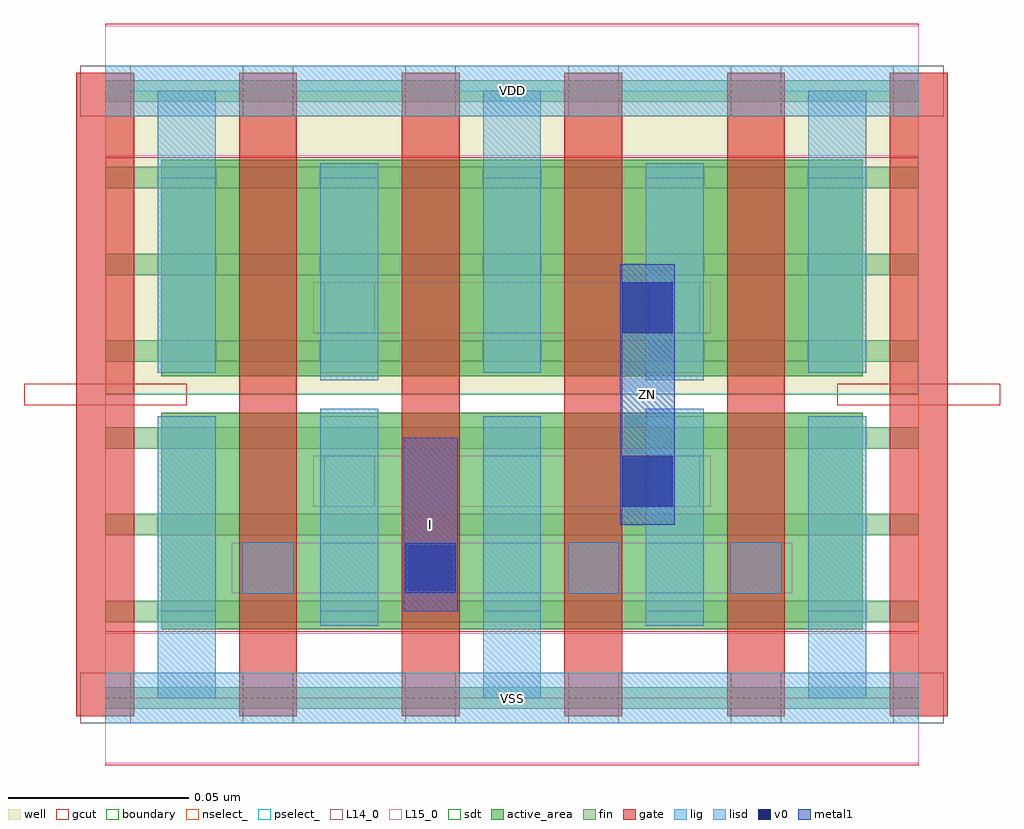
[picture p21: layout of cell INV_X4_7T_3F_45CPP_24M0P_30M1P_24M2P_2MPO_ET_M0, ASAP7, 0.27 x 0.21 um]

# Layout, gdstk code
import gdstk
lib = gdstk.Library(unit=1e-6, precision=2.5e-10)
def R(c, l, rs):  # rectangles x0, y0, x1, y1
    for r in rs: c.add(gdstk.rectangle(r[:2], r[2:], *l))
def A(c, l, x, y, w, h, nx, ny, dx, dy):  # array of equal rectangles
    R(c, l, [(x+i*dx, y+j*dy, x+i*dx+w, y+j*dy+h) for i in range(nx) for j in range(ny)])
well = (1, 0)
fin = (2, 0)
gate = (7, 0)
gcut = (10, 0)
active_area = (11, 0)
nselect_ = (12, 0)
pselect_ = (13, 0)
L14_0 = (14, 0)
L15_0 = (15, 0)
lig = (16, 0)
lisd = (17, 0)
v0 = (18, 0)
metal1 = (19, 0)
sdt = (88, 0)
boundary = (100, 0)

inv_x4_7t_3f_45cpp_24m0p = lib.new_cell('INV_X4_7T_3F_45CPP_24M0P_30M1P_24M2P_2MPO_ET_M0')
R(inv_x4_7t_3f_45cpp_24m0p, well, [(0,0.084,0.225,0.168)])
A(inv_x4_7t_3f_45cpp_24m0p, fin, 0, -0.003, 0.225, 0.006, 1, 8, 0, 0.024)
A(inv_x4_7t_3f_45cpp_24m0p, gate, -0.008, -0.005, 0.016, 0.178, 6, 1, 0.045, 0)
R(inv_x4_7t_3f_45cpp_24m0p, gcut, [(0,-0.0185,0.225,0.0185), (-0.0225,0.081,0.0225,0.087), (0.2025,0.081,0.2475,0.087), (0,0.1495,0.225,0.1865)])
R(inv_x4_7t_3f_45cpp_24m0p, active_area, [(0.0155,0.019,0.2095,0.079), (0.0155,0.089,0.2095,0.149)])
R(inv_x4_7t_3f_45cpp_24m0p, nselect_, [(0,0,0.225,0.084)])
R(inv_x4_7t_3f_45cpp_24m0p, pselect_, [(0,0.084,0.225,0.168)])
A(inv_x4_7t_3f_45cpp_24m0p, L14_0, -0.007, -0.007, 0.014, 0.014, 6, 2, 0.045, 0.168)
A(inv_x4_7t_3f_45cpp_24m0p, L14_0, 0.038, 0.029, 0.014, 0.014, 4, 1, 0.045, 0)
R(inv_x4_7t_3f_45cpp_24m0p, L14_0, [(0.0605,0.053,0.0745,0.067), (0.1505,0.053,0.1645,0.067), (0.0605,0.101,0.0745,0.115), (0.1505,0.101,0.1645,0.115)])
R(inv_x4_7t_3f_45cpp_24m0p, L15_0, [(0,-0.018,0.225,0.018), (0.035,0.029,0.19,0.043), (0.0575,0.053,0.1675,0.067), (0.0575,0.101,0.1675,0.115), (0,0.15,0.225,0.186)])
A(inv_x4_7t_3f_45cpp_24m0p, lig, 0.038, 0.029, 0.014, 0.014, 4, 1, 0.045, 0)
R(inv_x4_7t_3f_45cpp_24m0p, lig, [(0,-0.007,0.225,0.007), (0,0.161,0.225,0.175)])
A(inv_x4_7t_3f_45cpp_24m0p, lisd, 0.0145, 0, 0.016, 0.078, 3, 2, 0.09, 0.09)
R(inv_x4_7t_3f_45cpp_24m0p, lisd, [(0.0595,0.02,0.0755,0.08), (0.1495,0.02,0.1655,0.08), (0.0595,0.088,0.0755,0.148), (0.1495,0.088,0.1655,0.148)])
R(inv_x4_7t_3f_45cpp_24m0p, v0, [(0.083,0.029,0.097,0.043), (0.143,0.053,0.157,0.067), (0.143,0.101,0.157,0.115)])
R(inv_x4_7t_3f_45cpp_24m0p, metal1, [(0.0825,0.024,0.0975,0.072), (0.1425,0.048,0.1575,0.12)])
A(inv_x4_7t_3f_45cpp_24m0p, sdt, 0.0145, 0.024, 0.016, 0.054, 5, 2, 0.045, 0.066)
R(inv_x4_7t_3f_45cpp_24m0p, boundary, [(0,0,0.225,0.168)])
inv_x4_7t_3f_45cpp_24m0p.add(gdstk.Label('ZN', (0.15,0.084), layer=19, texttype=251))
inv_x4_7t_3f_45cpp_24m0p.add(gdstk.Label('I', (0.09,0.048), layer=19, texttype=251))
inv_x4_7t_3f_45cpp_24m0p.add(gdstk.Label('VDD', (0.1125,0.168), layer=15, texttype=251))
inv_x4_7t_3f_45cpp_24m0p.add(gdstk.Label('VSS', (0.1125,0), layer=15, texttype=251))
inv_x4_7t_3f_45cpp_24m0p.add(gdstk.Label('VDD', (0.1125,0.168), layer=1, texttype=251))
inv_x4_7t_3f_45cpp_24m0p.add(gdstk.Label('VSS', (0.1125,0), layer=3, texttype=251))

lib.write_gds('INV_X4_7T_3F_45CPP_24M0P_30M1P_24M2P_2MPO_ET_M0.gds')
